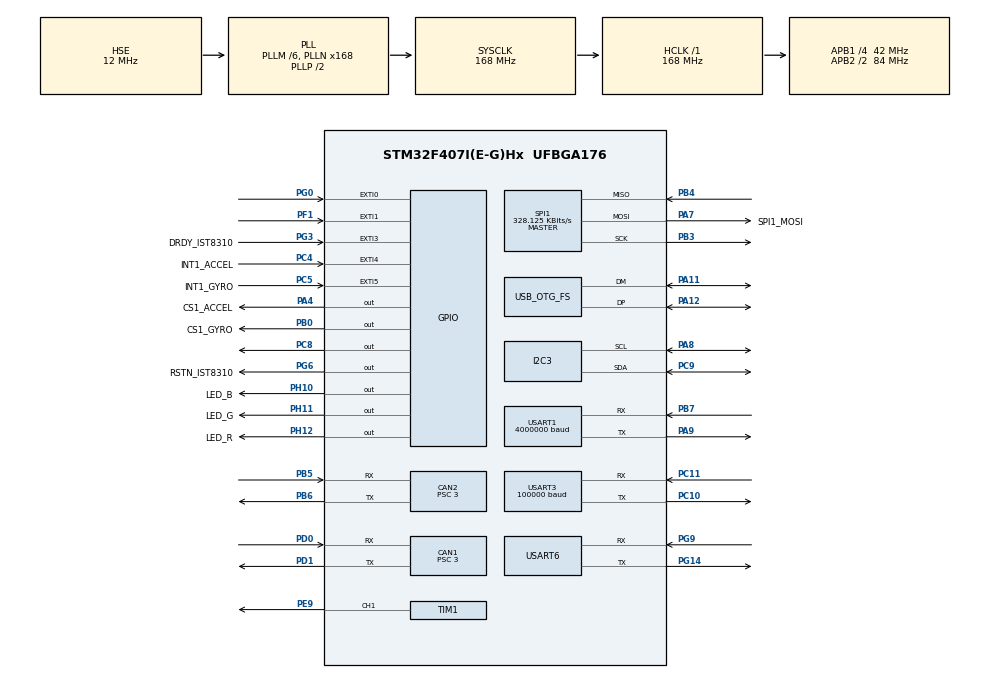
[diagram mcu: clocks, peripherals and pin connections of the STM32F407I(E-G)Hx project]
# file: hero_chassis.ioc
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CAN1.BS1=CAN_BS1_10TQ
CAN1.BS2=CAN_BS2_3TQ
CAN1.CalculateBaudRate=1000000
CAN1.CalculateTimeBit=1000
CAN1.CalculateTimeQuantum=71.42857142857143
CAN1.Prescaler=3
CAN2.BS1=CAN_BS1_10TQ
CAN2.BS2=CAN_BS2_3TQ
CAN2.CalculateBaudRate=1000000
CAN2.CalculateTimeBit=1000
CAN2.CalculateTimeQuantum=71.42857142857143
CAN2.Prescaler=3
Dma.Request0=USART3_RX
Dma.Request1=SPI1_RX
Dma.Request2=SPI1_TX
Dma.Request3=USART1_RX
Dma.Request4=USART1_TX
Dma.Request5=USART6_RX
Dma.Request6=USART6_TX
Dma.SPI1_RX.1.Direction=DMA_PERIPH_TO_MEMORY
Dma.SPI1_RX.1.FIFOMode=DMA_FIFOMODE_DISABLE
Dma.SPI1_RX.1.Instance=DMA2_Stream2
Dma.SPI1_RX.1.MemDataAlignment=DMA_MDATAALIGN_BYTE
Dma.SPI1_RX.1.MemInc=DMA_MINC_ENABLE
Dma.SPI1_RX.1.Mode=DMA_NORMAL
Dma.SPI1_RX.1.PeriphDataAlignment=DMA_PDATAALIGN_BYTE
Dma.SPI1_RX.1.PeriphInc=DMA_PINC_DISABLE
Dma.SPI1_RX.1.Priority=DMA_PRIORITY_VERY_HIGH
Dma.SPI1_TX.2.Direction=DMA_MEMORY_TO_PERIPH
Dma.SPI1_TX.2.FIFOMode=DMA_FIFOMODE_DISABLE
Dma.SPI1_TX.2.Instance=DMA2_Stream3
Dma.SPI1_TX.2.MemDataAlignment=DMA_MDATAALIGN_BYTE
Dma.SPI1_TX.2.MemInc=DMA_MINC_ENABLE
Dma.SPI1_TX.2.Mode=DMA_NORMAL
Dma.SPI1_TX.2.PeriphDataAlignment=DMA_PDATAALIGN_BYTE
Dma.SPI1_TX.2.PeriphInc=DMA_PINC_DISABLE
Dma.SPI1_TX.2.Priority=DMA_PRIORITY_HIGH
Dma.USART1_RX.3.Direction=DMA_PERIPH_TO_MEMORY
Dma.USART1_RX.3.FIFOMode=DMA_FIFOMODE_DISABLE
Dma.USART1_RX.3.Instance=DMA2_Stream5
Dma.USART1_RX.3.MemDataAlignment=DMA_MDATAALIGN_BYTE
Dma.USART1_RX.3.MemInc=DMA_MINC_ENABLE
Dma.USART1_RX.3.Mode=DMA_NORMAL
Dma.USART1_RX.3.PeriphDataAlignment=DMA_PDATAALIGN_BYTE
Dma.USART1_RX.3.PeriphInc=DMA_PINC_DISABLE
Dma.USART1_RX.3.Priority=DMA_PRIORITY_HIGH
Dma.USART1_TX.4.Direction=DMA_MEMORY_TO_PERIPH
Dma.USART1_TX.4.FIFOMode=DMA_FIFOMODE_DISABLE
Dma.USART1_TX.4.Instance=DMA2_Stream7
Dma.USART1_TX.4.MemDataAlignment=DMA_MDATAALIGN_BYTE
Dma.USART1_TX.4.MemInc=DMA_MINC_ENABLE
Dma.USART1_TX.4.Mode=DMA_NORMAL
Dma.USART1_TX.4.PeriphDataAlignment=DMA_PDATAALIGN_BYTE
Dma.USART1_TX.4.PeriphInc=DMA_PINC_DISABLE
Dma.USART1_TX.4.Priority=DMA_PRIORITY_MEDIUM
Dma.USART3_RX.0.Direction=DMA_PERIPH_TO_MEMORY
Dma.USART3_RX.0.FIFOMode=DMA_FIFOMODE_DISABLE
Dma.USART3_RX.0.Instance=DMA1_Stream1
Dma.USART3_RX.0.MemDataAlignment=DMA_MDATAALIGN_BYTE
Dma.USART3_RX.0.MemInc=DMA_MINC_ENABLE
Dma.USART3_RX.0.Mode=DMA_CIRCULAR
Dma.USART3_RX.0.PeriphDataAlignment=DMA_PDATAALIGN_BYTE
Dma.USART3_RX.0.PeriphInc=DMA_PINC_DISABLE
Dma.USART3_RX.0.Priority=DMA_PRIORITY_LOW
Dma.USART6_RX.5.Direction=DMA_PERIPH_TO_MEMORY
Dma.USART6_RX.5.FIFOMode=DMA_FIFOMODE_DISABLE
Dma.USART6_RX.5.Instance=DMA2_Stream1
Dma.USART6_RX.5.MemDataAlignment=DMA_MDATAALIGN_BYTE
Dma.USART6_RX.5.MemInc=DMA_MINC_ENABLE
Dma.USART6_RX.5.Mode=DMA_NORMAL
Dma.USART6_RX.5.PeriphDataAlignment=DMA_PDATAALIGN_BYTE
Dma.USART6_RX.5.PeriphInc=DMA_PINC_DISABLE
Dma.USART6_RX.5.Priority=DMA_PRIORITY_HIGH
Dma.USART6_TX.6.Direction=DMA_MEMORY_TO_PERIPH
Dma.USART6_TX.6.FIFOMode=DMA_FIFOMODE_DISABLE
Dma.USART6_TX.6.Instance=DMA2_Stream6
Dma.USART6_TX.6.MemDataAlignment=DMA_MDATAALIGN_BYTE
Dma.USART6_TX.6.MemInc=DMA_MINC_ENABLE
Dma.USART6_TX.6.Mode=DMA_NORMAL
Dma.USART6_TX.6.PeriphDataAlignment=DMA_PDATAALIGN_BYTE
Dma.USART6_TX.6.PeriphInc=DMA_PINC_DISABLE
Dma.USART6_TX.6.Priority=DMA_PRIORITY_MEDIUM
FREERTOS.INCLUDE_vTaskDelayUntil=1
FREERTOS.INCLUDE_xTaskGetHandle=1
FREERTOS.Tasks01=UITask,2,128,UI_Fun,As weak,NULL,Dynamic,NULL,NULL;ShootTASK,2,128,Shoot_Fun,As weak,NULL,Dynamic,NULL,NULL;GimbleTask,2,128,Gimble_Fun,As weak,NULL,Dynamic,NULL,NULL;ChassisTask,2,128,Chassis_Fun,As weak,NULL,Dynamic,NULL,NULL;Board_uartTask,2,128,Board_uart_Fun,As weak,NULL,Dynamic,NULL,NULL;Can_sendTask,2,128,Can_sendFun,As weak,NULL,Dynamic,NULL,NULL
I2C3.I2C_Mode=I2C_Fast
Mcu.Family=STM32F4
Mcu.Name=STM32F407I(E-G)Hx
Mcu.Package=UFBGA176
NVIC.CAN1_RX0_IRQn=true\:5\:0\:true\:false\:true\:true\:true\:true\:true
NVIC.CAN2_RX0_IRQn=true\:5\:0\:false\:false\:true\:true\:true\:true\:true
NVIC.DMA1_Stream1_IRQn=true\:5\:0\:true\:false\:true\:true\:false\:true\:true
NVIC.DMA2_Stream1_IRQn=true\:5\:0\:false\:false\:true\:true\:false\:true\:true
NVIC.DMA2_Stream2_IRQn=true\:5\:0\:true\:false\:true\:true\:false\:true\:true
NVIC.DMA2_Stream3_IRQn=true\:5\:0\:false\:false\:true\:true\:false\:true\:true
NVIC.DMA2_Stream5_IRQn=true\:5\:0\:false\:false\:true\:true\:false\:true\:true
NVIC.DMA2_Stream6_IRQn=true\:5\:0\:false\:false\:true\:true\:false\:true\:true
NVIC.DMA2_Stream7_IRQn=true\:5\:0\:false\:false\:true\:true\:false\:true\:true
NVIC.EXTI0_IRQn=true\:6\:0\:true\:false\:true\:true\:true\:true\:true
NVIC.EXTI1_IRQn=true\:5\:0\:true\:false\:true\:true\:true\:true\:true
NVIC.EXTI3_IRQn=true\:5\:0\:true\:false\:true\:true\:true\:true\:true
NVIC.EXTI4_IRQn=true\:5\:0\:true\:false\:true\:true\:true\:true\:true
NVIC.EXTI9_5_IRQn=true\:5\:0\:true\:false\:true\:true\:true\:true\:true
NVIC.OTG_FS_IRQn=true\:5\:0\:false\:false\:true\:true\:true\:true\:true
NVIC.PriorityGroup=NVIC_PRIORITYGROUP_4
NVIC.TIM1_UP_TIM10_IRQn=true\:5\:0\:true\:false\:true\:true\:true\:true\:true
NVIC.TIM4_IRQn=true\:5\:0\:true\:false\:true\:true\:true\:true\:true
NVIC.TIM6_DAC_IRQn=true\:15\:0\:false\:false\:true\:false\:false\:true\:true
NVIC.TimeBase=TIM6_DAC_IRQn
NVIC.TimeBaseIP=TIM6
NVIC.USART1_IRQn=true\:5\:0\:false\:false\:true\:true\:true\:true\:true
NVIC.USART3_IRQn=true\:5\:0\:true\:false\:true\:true\:true\:true\:true
NVIC.USART6_IRQn=true\:5\:0\:false\:false\:true\:true\:true\:true\:true
PA11.Mode=Device_Only
PA11.Signal=USB_OTG_FS_DM
PA12.Mode=Device_Only
PA12.Signal=USB_OTG_FS_DP
PA13.Mode=Serial_Wire
PA13.Signal=SYS_JTMS-SWDIO
PA14.Mode=Serial_Wire
PA14.Signal=SYS_JTCK-SWCLK
PA4.GPIO_Label=CS1_ACCEL
PA4.PinState=GPIO_PIN_SET
PA4.Signal=GPIO_Output
PA7.GPIO_Label=SPI1_MOSI
PA7.GPIO_PuPd=GPIO_PULLUP
PA7.Mode=Full_Duplex_Master
PA7.Signal=SPI1_MOSI
PA8.Mode=I2C
PA8.Signal=I2C3_SCL
PA9.Mode=Asynchronous
PA9.Signal=USART1_TX
PB0.GPIO_Label=CS1_GYRO
PB0.PinState=GPIO_PIN_SET
PB0.Signal=GPIO_Output
PB3.Mode=Full_Duplex_Master
PB3.Signal=SPI1_SCK
PB4.GPIO_PuPd=GPIO_PULLUP
PB4.Mode=Full_Duplex_Master
PB4.Signal=SPI1_MISO
PB5.Mode=CAN_Activate
PB5.Signal=CAN2_RX
PB6.Mode=CAN_Activate
PB6.Signal=CAN2_TX
PB7.Mode=Asynchronous
PB7.Signal=USART1_RX
PC10.Mode=Asynchronous
PC10.Signal=USART3_TX
PC11.Mode=Asynchronous
PC11.Signal=USART3_RX
PC4.GPIO_Label=INT1_ACCEL
PC4.GPIO_PuPd=GPIO_PULLUP
PC4.Signal=GPXTI4
PC5.GPIO_Label=INT1_GYRO
PC5.GPIO_PuPd=GPIO_PULLUP
PC5.Signal=GPXTI5
PC8.GPIO_PuPd=GPIO_PULLUP
PC8.Signal=GPIO_Output
PC9.Mode=I2C
PC9.Signal=I2C3_SDA
PD0.Mode=CAN_Activate
PD0.Signal=CAN1_RX
PD1.Mode=CAN_Activate
PD1.Signal=CAN1_TX
PE9.Signal=S_TIM1_CH1
PF1.Signal=GPXTI1
PF6.Signal=S_TIM10_CH1
PG0.Signal=GPXTI0
PG14.Mode=Asynchronous
PG14.Signal=USART6_TX
PG3.GPIO_Label=DRDY_IST8310
PG3.GPIO_PuPd=GPIO_PULLUP
PG3.Signal=GPXTI3
PG6.GPIO_Label=RSTN_IST8310
PG6.GPIO_PuPd=GPIO_PULLUP
PG6.GPIO_Speed=GPIO_SPEED_FREQ_MEDIUM
PG6.PinState=GPIO_PIN_SET
PG6.Signal=GPIO_Output
PG9.Mode=Asynchronous
PG9.Signal=USART6_RX
PH0-OSC_IN.Mode=HSE-External-Oscillator
PH0-OSC_IN.Signal=RCC_OSC_IN
PH1-OSC_OUT.Mode=HSE-External-Oscillator
PH1-OSC_OUT.Signal=RCC_OSC_OUT
PH10.GPIO_Label=LED_B
PH10.Signal=GPIO_Output
PH11.GPIO_Label=LED_G
PH11.Signal=GPIO_Output
PH12.GPIO_Label=LED_R
PH12.Signal=GPIO_Output
ProjectManager.HeapSize=0x200
ProjectManager.StackSize=0x4000
ProjectManager.TargetToolchain=MDK-ARM V5.32
RCC.48MHZClocksFreq_Value=48000000
RCC.AHBFreq_Value=168000000
RCC.APB1CLKDivider=RCC_HCLK_DIV4
RCC.APB1Freq_Value=42000000
RCC.APB1TimFreq_Value=84000000
RCC.APB2CLKDivider=RCC_HCLK_DIV2
RCC.APB2Freq_Value=84000000
RCC.APB2TimFreq_Value=168000000
RCC.CortexFreq_Value=168000000
RCC.HCLKFreq_Value=168000000
RCC.HSE_VALUE=12000000
RCC.HSI_VALUE=16000000
RCC.LSE_VALUE=32768
RCC.PLLM=6
RCC.PLLN=168
RCC.PLLQ=7
RCC.SYSCLKFreq_VALUE=168000000
RCC.SYSCLKSource=RCC_SYSCLKSOURCE_PLLCLK
RCC.VCOOutputFreq_Value=336000000
SH.S_TIM10_CH1.0=TIM10_CH1
SH.S_TIM1_CH1.0=TIM1_CH1,PWM Generation1 CH1
SPI1.BaudRatePrescaler=SPI_BAUDRATEPRESCALER_256
SPI1.CLKPhase=SPI_PHASE_2EDGE
SPI1.CLKPolarity=SPI_POLARITY_HIGH
SPI1.CalculateBaudRate=328.125 KBits/s
SPI1.Direction=SPI_DIRECTION_2LINES
SPI1.Mode=SPI_MODE_MASTER
SPI1.VirtualType=VM_MASTER
STMicroelectronics.X-CUBE-ALGOBUILD.1.3.0.LibraryCcDSPOoLibraryJjDSPOoLibrary=true
TIM1.AutoReloadPreload=TIM_AUTORELOAD_PRELOAD_ENABLE
TIM1.Channel-PWM\ Generation1\ CH1=TIM_CHANNEL_1
TIM1.Period=499
TIM1.Prescaler=335
TIM4.AutoReloadPreload=TIM_AUTORELOAD_PRELOAD_ENABLE
TIM4.Period=4999
TIM4.Prescaler=16799
USART1.BaudRate=4000000
USART1.VirtualMode=VM_ASYNC
USART3.BaudRate=100000
USART3.Parity=PARITY_EVEN
USART3.VirtualMode=VM_ASYNC
USART3.WordLength=WORDLENGTH_9B
USART6.VirtualMode=VM_ASYNC
USB_DEVICE.CLASS_NAME_FS=CDC
USB_DEVICE.VirtualMode-CDC_FS=Cdc
USB_DEVICE.VirtualModeFS=Cdc_FS
USB_OTG_FS.VirtualMode=Device_Only
VP_CRC_VS_CRC.Mode=CRC_Activate
VP_FREERTOS_VS_CMSIS_V1.Mode=CMSIS_V1
VP_STMicroelectronics.X-CUBE-ALGOBUILD_VS_DSPOoLibraryJjLibrary_1.3.0_1.3.0.Mode=DSPOoLibraryJjLibrary
VP_SYS_VS_tim6.Mode=TIM6
VP_TIM1_VS_ClockSourceINT.Mode=Internal
VP_TIM4_VS_ClockSourceINT.Mode=Internal
VP_USB_DEVICE_VS_USB_DEVICE_CDC_FS.Mode=CDC_FS
board=custom

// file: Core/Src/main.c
/* USER CODE BEGIN Header */
/**
  ******************************************************************************
  * @file           : main.c
  * @brief          : Main program body
  ******************************************************************************
  * @attention
  *
  * Copyright (c) 2024 STMicroelectronics.
  * All rights reserved.
  *
  * This software is licensed under terms that can be found in the LICENSE file
  * in the root directory of this software component.
  * If no LICENSE file comes with this software, it is provided AS-IS.
  *
  ******************************************************************************
  */
/* USER CODE END Header */
#include "main.h"
#include "cmsis_os.h"
#include "can.h"
#include "crc.h"
#include "dma.h"
#include "i2c.h"
#include "spi.h"
#include "tim.h"
#include "usart.h"
#include "usb_device.h"
#include "gpio.h"

/* USER CODE BEGIN Includes */
#include "judge.h"
#include "bsp_can.h"
#include "dbus.h"
#include "Board_can.h"
#include "Chassis_Task.h"
#include "Gimbal_Task.h"
#include "board_uart.h"
#include "bsp_delay.h"

/* USER CODE END Includes */

void SystemClock_Config(void);
void MX_FREERTOS_Init(void);

int main(void)
{

  /* MCU Configuration--------------------------------------------------------*/

  /* Reset of all peripherals, Initializes the Flash interface and the Systick. */
  HAL_Init();

  /* Configure the system clock */
  SystemClock_Config();

  /* Initialize all configured peripherals */
  MX_GPIO_Init();
  MX_DMA_Init();
  MX_CAN1_Init();
  MX_USART3_UART_Init();
  MX_SPI1_Init();
  MX_I2C3_Init();
  MX_CAN2_Init();
  MX_USART1_UART_Init();
  MX_TIM1_Init();
  MX_CRC_Init();
  MX_USART6_UART_Init();
  MX_TIM4_Init();
  /* USER CODE BEGIN 2 */
	SYSTEM_InitPeripheral();
  /* USER CODE END 2 */

  /* Call init function for freertos objects (in freertos.c) */
  MX_FREERTOS_Init();

  /* Start scheduler */
  osKernelStart();

  /* We should never get here as control is now taken by the scheduler */
  /* Infinite loop */
  while (1)
  {

  }
}

void SystemClock_Config(void)
{
  RCC_OscInitTypeDef RCC_OscInitStruct = {0};
  RCC_ClkInitTypeDef RCC_ClkInitStruct = {0};

  /** Configure the main internal regulator output voltage
  */
  __HAL_RCC_PWR_CLK_ENABLE();
  __HAL_PWR_VOLTAGESCALING_CONFIG(PWR_REGULATOR_VOLTAGE_SCALE1);

  /** Initializes the RCC Oscillators according to the specified parameters
  * in the RCC_OscInitTypeDef structure.
  */
  RCC_OscInitStruct.OscillatorType = RCC_OSCILLATORTYPE_HSE;
  RCC_OscInitStruct.HSEState = RCC_HSE_ON;
  RCC_OscInitStruct.PLL.PLLState = RCC_PLL_ON;
  RCC_OscInitStruct.PLL.PLLSource = RCC_PLLSOURCE_HSE;
  RCC_OscInitStruct.PLL.PLLM = 6;
  RCC_OscInitStruct.PLL.PLLN = 168;
  RCC_OscInitStruct.PLL.PLLP = RCC_PLLP_DIV2;
  RCC_OscInitStruct.PLL.PLLQ = 7;
  if (HAL_RCC_OscConfig(&RCC_OscInitStruct) != HAL_OK)
  {
    Error_Handler();
  }

  /** Initializes the CPU, AHB and APB buses clocks
  */
  RCC_ClkInitStruct.ClockType = RCC_CLOCKTYPE_HCLK|RCC_CLOCKTYPE_SYSCLK
                              |RCC_CLOCKTYPE_PCLK1|RCC_CLOCKTYPE_PCLK2;
  RCC_ClkInitStruct.SYSCLKSource = RCC_SYSCLKSOURCE_PLLCLK;
  RCC_ClkInitStruct.AHBCLKDivider = RCC_SYSCLK_DIV1;
  RCC_ClkInitStruct.APB1CLKDivider = RCC_HCLK_DIV4;
  RCC_ClkInitStruct.APB2CLKDivider = RCC_HCLK_DIV2;

  if (HAL_RCC_ClockConfig(&RCC_ClkInitStruct, FLASH_LATENCY_5) != HAL_OK)
  {
    Error_Handler();
  }
}

/* USER CODE BEGIN 4 */
/**
  * @brief  初始化外设函数
  * @param  void
  * @retval void
  * @attention
  */
void SYSTEM_InitPeripheral(void)
{
		HAL_Delay(50);
		dbus_uart_init();
		CAN_Init();
		delay_init();
//		RC_Init(board_rx_buf[0], board_rx_buf[1], CMNT_RX_MAX);
		fifo_s_init(&Referee_FIFO, Referee_FIFO_Buffer, REFEREE_FIFO_BUF_LENGTH);
		Referee_StructInit();
		Referee_UARTInit(Referee_Buffer[0], Referee_Buffer[1], REFEREE_USART_RX_BUF_LENGHT);

	  HAL_TIM_Base_Start_IT(&htim4);//启动定时器中断
	  HAL_TIM_Base_Start_IT(&htim1);

}

uint32_t test_can;
/* USER CODE END 4 */

void HAL_TIM_PeriodElapsedCallback(TIM_HandleTypeDef *htim)
{
  /* USER CODE BEGIN Callback 0 */
		if (htim->Instance == TIM1)
	{
		//板间通信
		if(test_can <2)
			test_can++;
		else
		{
		set_chassis_msg();
		test_can = 0;
		}
		//失联时间
		if(RC_Ctl.misstimeout<10000)
		RC_Ctl.misstimeout++;
		if(Gimbal.flag.boardlose_time<10000)
		Gimbal.flag.boardlose_time++;

	}
	if (htim->Instance == TIM4)
	{
		//频率计数
		Frequency_calc();
	}

  /* USER CODE END Callback 0 */
  if (htim->Instance == TIM6) {
    HAL_IncTick();
  }
}

void Error_Handler(void)
{
  __disable_irq();
  while (1)
  {
  }
}

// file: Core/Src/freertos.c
/* USER CODE BEGIN Header */
/**
  ******************************************************************************
  * File Name          : freertos.c
  * Description        : Code for freertos applications
  ******************************************************************************
  * @attention
  *
  * Copyright (c) 2024 STMicroelectronics.
  * All rights reserved.
  *
  * This software is licensed under terms that can be found in the LICENSE file
  * in the root directory of this software component.
  * If no LICENSE file comes with this software, it is provided AS-IS.
  *
  ******************************************************************************
  */
/* USER CODE END Header */

#include "FreeRTOS.h"
#include "task.h"
#include "main.h"
#include "cmsis_os.h"

osThreadId UITaskHandle;
osThreadId ShootTASKHandle;
osThreadId GimbleTaskHandle;
osThreadId ChassisTaskHandle;
osThreadId Board_uartTaskHandle;
osThreadId Can_sendTaskHandle;

/* USER CODE BEGIN FunctionPrototypes */
void Board_uart_Fun(void const * argument);

/* USER CODE END FunctionPrototypes */

void UI_Fun(void const * argument);
void Shoot_Fun(void const * argument);
void Gimble_Fun(void const * argument);
void Chassis_Fun(void const * argument);
void Board_uart_Fun(void const * argument);
void Can_sendFun(void const * argument);

extern void MX_USB_DEVICE_Init(void);
void MX_FREERTOS_Init(void); /* (MISRA C 2004 rule 8.1) */

/* GetIdleTaskMemory prototype (linked to static allocation support) */
void vApplicationGetIdleTaskMemory( StaticTask_t **ppxIdleTaskTCBBuffer, StackType_t **ppxIdleTaskStackBuffer, uint32_t *pulIdleTaskStackSize );

/* USER CODE BEGIN GET_IDLE_TASK_MEMORY */
static StaticTask_t xIdleTaskTCBBuffer;
static StackType_t xIdleStack[configMINIMAL_STACK_SIZE];

void vApplicationGetIdleTaskMemory( StaticTask_t **ppxIdleTaskTCBBuffer, StackType_t **ppxIdleTaskStackBuffer, uint32_t *pulIdleTaskStackSize )
{
  *ppxIdleTaskTCBBuffer = &xIdleTaskTCBBuffer;
  *ppxIdleTaskStackBuffer = &xIdleStack[0];
  *pulIdleTaskStackSize = configMINIMAL_STACK_SIZE;
  /* place for user code */
}
/* USER CODE END GET_IDLE_TASK_MEMORY */

void MX_FREERTOS_Init(void) {

  /* Create the thread(s) */
  /* definition and creation of UITask */
  osThreadDef(UITask, UI_Fun, osPriorityHigh, 0, 128);
  UITaskHandle = osThreadCreate(osThread(UITask), NULL);

  /* definition and creation of ShootTASK */
  osThreadDef(ShootTASK, Shoot_Fun, osPriorityHigh, 0, 128);
  ShootTASKHandle = osThreadCreate(osThread(ShootTASK), NULL);

  /* definition and creation of GimbleTask */
  osThreadDef(GimbleTask, Gimble_Fun, osPriorityHigh, 0, 128);
  GimbleTaskHandle = osThreadCreate(osThread(GimbleTask), NULL);

  /* definition and creation of ChassisTask */
  osThreadDef(ChassisTask, Chassis_Fun, osPriorityHigh, 0, 128);
  ChassisTaskHandle = osThreadCreate(osThread(ChassisTask), NULL);

  /* definition and creation of Board_uartTask */
  osThreadDef(Board_uartTask, Board_uart_Fun, osPriorityHigh, 0, 128);
  Board_uartTaskHandle = osThreadCreate(osThread(Board_uartTask), NULL);

  /* definition and creation of Can_sendTask */
  osThreadDef(Can_sendTask, Can_sendFun, osPriorityHigh, 0, 128);
  Can_sendTaskHandle = osThreadCreate(osThread(Can_sendTask), NULL);

}

__weak void UI_Fun(void const * argument)
{
  /* init code for USB_DEVICE */
  MX_USB_DEVICE_Init();
  for(;;)
  {
    osDelay(1);
  }
}

__weak void Shoot_Fun(void const * argument)
{
  for(;;)
  {
    osDelay(1);
  }
}

__weak void Gimble_Fun(void const * argument)
{
  for(;;)
  {
    osDelay(1);
  }
}

__weak void Chassis_Fun(void const * argument)
{
  for(;;)
  {
    osDelay(1);
  }
}

__weak void Board_uart_Fun(void const * argument)
{
  for(;;)
  {
    osDelay(1);
  }
}

__weak void Can_sendFun(void const * argument)
{
  for(;;)
  {
    osDelay(1);
  }
}
